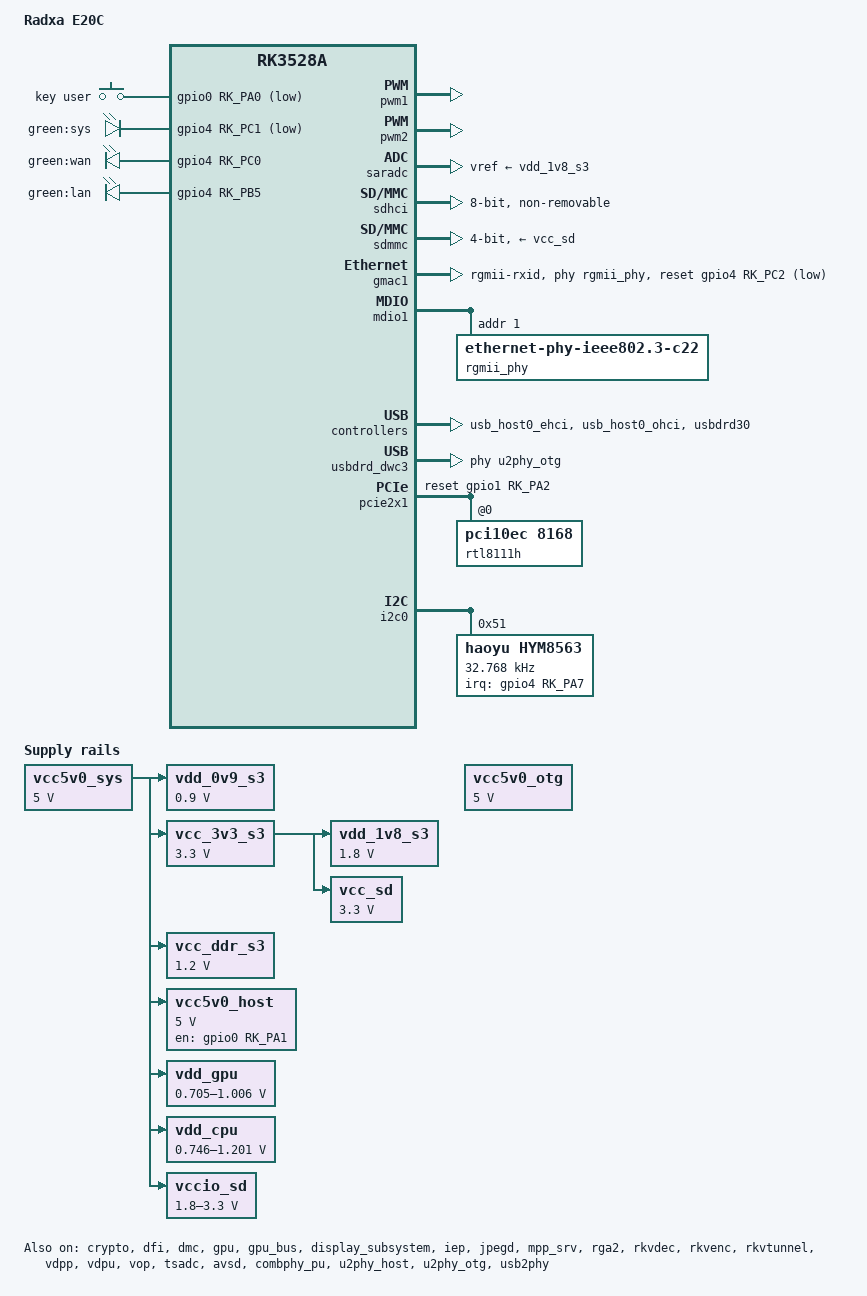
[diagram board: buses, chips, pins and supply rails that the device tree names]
// SPDX-License-Identifier: (GPL-2.0+ OR MIT)
/*
 * Copyright (c) 2022 Rockchip Electronics Co., Ltd.
 * Copyright (c) 2024 Radxa Limited
 *
 */

/dts-v1/;

#include <dt-bindings/gpio/gpio.h>
#include <dt-bindings/input/rk-input.h>
#include <dt-bindings/pinctrl/rockchip.h>
#include "rk3528.dtsi"
#include "rk3528-linux.dtsi"

/ {
	model = "Radxa E20C";
	compatible = "radxa,e20c", "rockchip,rk3528a";

	aliases {
		ethernet0 = &gmac1;
		ethernet1 = &rtl8111h;

		mmc0 = &sdmmc;
		mmc1 = &sdhci;
		mmc2 = &sdio0;

		led-boot = &sys_led;
		led-failsafe = &sys_led;
		led-running = &sys_led;
		led-upgrade = &sys_led;
	};

	vcc5v0_sys: vcc5v0-sys {
		compatible = "regulator-fixed";
		regulator-name = "vcc5v0_sys";
		regulator-always-on;
		regulator-boot-on;
		regulator-min-microvolt = <5000000>;
		regulator-max-microvolt = <5000000>;
	};

	vdd_0v9_s3: vdd-0v9-s3 {
		compatible = "regulator-fixed";
		regulator-name = "vdd_0v9_s3";
		regulator-always-on;
		regulator-boot-on;
		regulator-min-microvolt = <900000>;
		regulator-max-microvolt = <900000>;
		vin-supply = <&vcc5v0_sys>;
	};

	vcc_3v3_s3: vcc-3v3-s3 {
		compatible = "regulator-fixed";
		regulator-name = "vcc_3v3_s3";
		regulator-always-on;
		regulator-boot-on;
		regulator-min-microvolt = <3300000>;
		regulator-max-microvolt = <3300000>;
		vin-supply = <&vcc5v0_sys>;
	};

	vdd_1v8_s3: vdd-1v8-s3 {
		compatible = "regulator-fixed";
		regulator-name = "vdd_1v8_s3";
		regulator-always-on;
		regulator-boot-on;
		regulator-min-microvolt = <1800000>;
		regulator-max-microvolt = <1800000>;
		vin-supply = <&vcc_3v3_s3>;
	};

	vcc_ddr_s3: vcc-ddr-s3 {
		compatible = "regulator-fixed";
		regulator-name = "vcc_ddr_s3";
		regulator-always-on;
		regulator-boot-on;
		regulator-min-microvolt = <1200000>;
		regulator-max-microvolt = <1200000>;
		vin-supply = <&vcc5v0_sys>;
	};

	vcc5v0_host: vcc5v0-host-regulator {
		compatible = "regulator-fixed";
		regulator-name = "vcc5v0_host";
		regulator-boot-on;
		regulator-always-on;
		regulator-min-microvolt = <5000000>;
		regulator-max-microvolt = <5000000>;
		enable-active-high;
		gpio = <&gpio0 RK_PA1 GPIO_ACTIVE_HIGH>;
		vin-supply = <&vcc5v0_sys>;
		pinctrl-names = "default";
		pinctrl-0 = <&vcc5v0_host_en>;
	};

	vcc5v0_otg: vcc5v0-otg-regulator {
		compatible = "regulator-fixed";
		regulator-name = "vcc5v0_otg";
		regulator-min-microvolt = <5000000>;
		regulator-max-microvolt = <5000000>;
	};

	vdd_gpu: vdd_logic: vdd-logic {
		compatible = "pwm-regulator";
		pwms = <&pwm2 0 5000 1>;
		regulator-name = "vdd_logic";
		regulator-min-microvolt = <705000>;
		regulator-max-microvolt = <1006000>;
		regulator-init-microvolt = <900000>;
		regulator-always-on;
		regulator-boot-on;
		regulator-ramp-delay = <6001>;
		regulator-settling-time-up-us = <250>;
		pwm-supply = <&vcc5v0_sys>;
		status = "okay";
	};

	vdd_cpu: vdd-cpu {
		compatible = "pwm-regulator";
		pwms = <&pwm1 0 5000 1>;
		regulator-name = "vdd_cpu";
		regulator-min-microvolt = <746000>;
		regulator-max-microvolt = <1201000>;
		regulator-init-microvolt = <953000>;
		regulator-always-on;
		regulator-boot-on;
		regulator-ramp-delay = <6001>;
		regulator-settling-time-up-us = <250>;
		pwm-supply = <&vcc5v0_sys>;
		status = "okay";
	};

	vccio_sd: vccio-sd {
		compatible = "regulator-gpio";
		regulator-name = "vccio_sd";
		regulator-min-microvolt = <1800000>;
		regulator-max-microvolt = <3300000>;
		gpios = <&gpio4 RK_PB6 GPIO_ACTIVE_HIGH>;
		vin-supply = <&vcc5v0_sys>;
		states = <1800000 0x0
			  3300000 0x1>;
	};

	vcc_sd: vcc-sd {
		compatible = "regulator-fixed";
		regulator-name = "vcc_sd";
		regulator-min-microvolt = <3300000>;
		regulator-max-microvolt = <3300000>;
		vin-supply = <&vcc_3v3_s3>;
	};

	gpio-keys {
		compatible = "gpio-keys";
		pinctrl-names = "default";
		pinctrl-0 = <&user_key>;

		user-key {
			label = "key user";
			linux,code = <KEY_RESTART>;
			gpios = <&gpio0 RK_PA0 GPIO_ACTIVE_LOW>;
			debounce-interval = <100>;
		};
	};

	gpio_leds: gpio-leds {
		compatible = "gpio-leds";
		pinctrl-names = "default";
		pinctrl-0 =
			<&led_lan_en>,
			<&led_wan_en>,
			<&led_sys_en>;

		sys_led: sys-led {
			gpios = <&gpio4 RK_PC1 GPIO_ACTIVE_LOW>;
			label = "green:sys";
			linux,default-trigger = "heartbeat";
		};

		wan-led {
			gpios = <&gpio4 RK_PC0 GPIO_ACTIVE_HIGH>;
			label = "green:wan";
			linux,default-trigger = "netdev";
		};

		lan-led {
			gpios = <&gpio4 RK_PB5 GPIO_ACTIVE_HIGH>;
			label = "green:lan";
			linux,default-trigger = "netdev";
		};
	};
};

&pwm1 {
	status = "okay";
};

&pwm2 {
	status = "okay";
};

&cpu0 {
	cpu-supply = <&vdd_cpu>;
};

&crypto {
	status = "okay";
};

&dfi {
	status = "okay";
};

&dmc {
	center-supply = <&vdd_logic>;
	status = "okay";
};

&gpu {
	mali-supply = <&vdd_gpu>;
	status = "okay";
};

&gpu_bus {
	bus-supply = <&vdd_logic>;
	status = "okay";
};

&display_subsystem {
	status = "okay";
};

&iep {
	status = "okay";
};

&iep_mmu {
	status = "okay";
};

&jpegd {
	status = "okay";
};

&jpegd_mmu {
	status = "okay";
};

&mpp_srv {
	status = "okay";
};

&rga2 {
	status = "okay";
};

&rga2_mmu {
	status = "okay";
};

&rkvdec {
	status = "okay";
};

&rkvdec_mmu {
	status = "okay";
};

&rkvenc {
	status = "okay";
};

&rkvenc_mmu {
	status = "okay";
};

&rkvtunnel {
	status = "okay";
};

&rockchip_suspend {
	status = "okay";
	rockchip,sleep-debug-en = <1>;
	rockchip,virtual-poweroff = <1>;
	rockchip,sleep-mode-config = <
		(0
		| RKPM_SLP_ARMPD
		)
	>;
	rockchip,wakeup-config = <
		(0
		| RKPM_CPU0_WKUP_EN
		| RKPM_GPIO_WKUP_EN
		)
	>;
	rockchip,pwm-regulator-config = <
		(0
		| RKPM_PWM0_M0_REGULATOR_EN
		| RKPM_PWM1_M0_REGULATOR_EN
		)
	>;
};

&vdpp {
	status = "okay";
};

&vdpu {
	status = "okay";
};

&vdpu_mmu {
	status = "okay";
};

&vop {
	status = "okay";
};

&vop_mmu {
	status = "okay";
};

&tsadc {
	status = "okay";
};

&saradc {
	status = "okay";
	vref-supply = <&vdd_1v8_s3>;
};

&avsd {
	status = "okay";
};

&sdhci {
	bus-width = <8>;
	no-sd;
	no-sdio;
	non-removable;
	mmc-hs400-1_8v;
	mmc-hs400-enhanced-strobe;
	max-frequency = <200000000>;
	status = "okay";
};

&sdmmc {
	bus-width = <4>;
	cap-mmc-highspeed;
	cap-sd-highspeed;
	disable-wp;
	max-frequency = <150000000>;
	pinctrl-names = "default";
	pinctrl-0 = <&sdmmc_clk &sdmmc_cmd &sdmmc_det &sdmmc_bus4>;
	rockchip,default-sample-phase = <90>;
	supports-sd;
	sd-uhs-sdr12;
	sd-uhs-sdr25;
	sd-uhs-sdr50;
	sd-uhs-sdr104;
	vqmmc-supply = <&vccio_sd>;
	vmmc-supply = <&vcc_sd>;
	status = "okay";
};

&gmac1 {
	/* Use rgmii-rxid mode to disable rx delay inside Soc */
	phy-mode = "rgmii-rxid";
	clock_in_out = "output";

	snps,reset-gpio = <&gpio4 RK_PC2 GPIO_ACTIVE_LOW>;
	snps,reset-active-low;
	/* Reset time is 20ms, 100ms for rtl8211f */
	snps,reset-delays-us = <0 20000 100000>;

	tx_delay = <0x30>;
	/* rx_delay = <0x3f>; */

	pinctrl-names = "default";
	pinctrl-0 = <&rgmii_miim
		     &rgmii_tx_bus2
		     &rgmii_rx_bus2
		     &rgmii_rgmii_clk
		     &rgmii_rgmii_bus>;

	phy-handle = <&rgmii_phy>;
	status = "okay";
};

&mdio1 {
	rgmii_phy: phy@1 {
		compatible = "ethernet-phy-ieee802.3-c22";
		reg = <0x1>;
	};
};

&combphy_pu {
	rockchip,dis-u3otg0-port; /* disable USB3.0 */
	status = "okay";
};

&u2phy_host {
	phy-supply = <&vcc5v0_host>;
	status = "okay";
};

&u2phy_otg {
	vbus-supply = <&vcc5v0_otg>;
	status = "okay";
};

&usb2phy {
	status = "okay";
};

&usb_host0_ehci {
	status = "okay";
};

&usb_host0_ohci {
	status = "okay";
};

&usbdrd30 {
	status = "okay";
};

&usbdrd_dwc3 {
	extcon = <&usb2phy>;
	phys = <&u2phy_otg>;
	phy-names = "usb2-phy";
	maximum-speed = "high-speed";
	snps,dis_u2_susphy_quirk;
	snps,usb2-lpm-disable;
	status = "okay";
};

&pcie2x1 {
	reset-gpios = <&gpio1 RK_PA2 GPIO_ACTIVE_HIGH>;
	status = "okay";
	pcie@0,0 {
		reg = <0x000000 0 0 0 0>;
		#address-cells = <3>;
		#size-cells = <2>;

		rtl8111h: pcie-eth@0,0 {
			compatible = "pci10ec,8168";
			reg = <0x000000 0 0 0 0>;
			realtek,led-data = <0x0778>;
		};
	};
};

&i2c0 {
	status = "okay";
	pinctrl-names = "default";
	pinctrl-0 = <&i2c0m1_xfer>;

	hym8563: hym8563@51 {
		compatible = "haoyu,hym8563";
		reg = <0x51>;
		#clock-cells = <0>;
		clock-frequency = <32768>;
		clock-output-names = "hym8563";
		pinctrl-names = "default";
		pinctrl-0 = <&hym8563_int>;
		interrupt-parent = <&gpio4>;
		interrupts = <RK_PA7 IRQ_TYPE_LEVEL_LOW>;
		wakeup-source;
	};
};

&pinctrl {
	usb {
		vcc5v0_host_en: vcc5v0-host-en {
			rockchip,pins = <0 RK_PA1 RK_FUNC_GPIO &pcfg_pull_none>;
		};
	};

	hym8563 {
		hym8563_int: hym8563-int {
			rockchip,pins = <4 RK_PA7 RK_FUNC_GPIO &pcfg_pull_none>;
		};
	};

	keys {
		user_key: user-key {
			rockchip,pins = <0 RK_PA0 RK_FUNC_GPIO &pcfg_pull_up>;
		};
	};

	leds {
		led_lan_en: led-lan-en {
			rockchip,pins =
				<4 RK_PB5 RK_FUNC_GPIO &pcfg_pull_none>;
		};
		led_wan_en: led-wan-en {
			rockchip,pins =
				<4 RK_PC0 RK_FUNC_GPIO &pcfg_pull_none>;
		};
		led_sys_en: led-sys-en {
			rockchip,pins =
				<4 RK_PC1 RK_FUNC_GPIO &pcfg_pull_none>;
		};
	};
};

